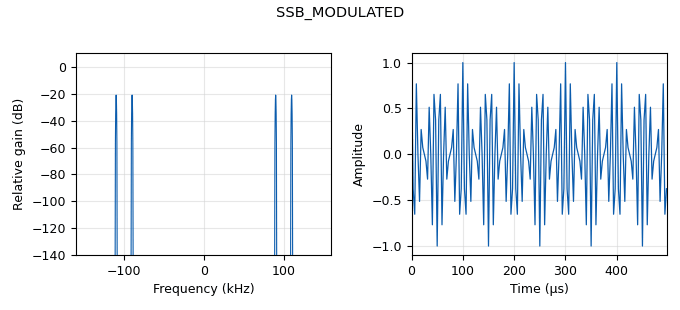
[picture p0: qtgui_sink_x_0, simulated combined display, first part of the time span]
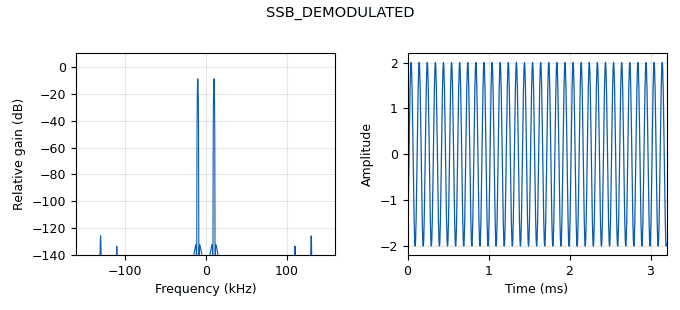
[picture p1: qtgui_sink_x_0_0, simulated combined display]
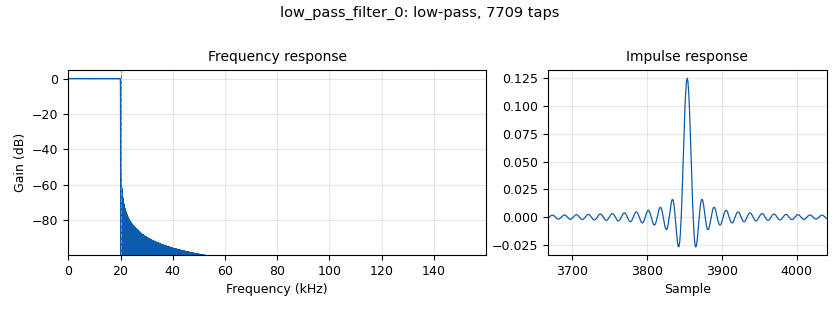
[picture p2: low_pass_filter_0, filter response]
options:
  parameters:
    generate_options: qt_gui
    id: Lab2_4
    output_language: python
    title: Not titled yet
  states: {}

blocks:
- name: gain
  id: variable_qtgui_range
  parameters:
    start: '-1'
    step: '1'
    stop: '1'
    value: '0'
  states: {}
- name: samp_rate
  id: variable
  parameters:
    value: '320000'
  states: {}
- name: analog_sig_source_x_0
  id: analog_sig_source_x
  parameters:
    amp: '1'
    freq: '10000'
    offset: '0'
    phase: '0'
    samp_rate: samp_rate
    type: float
    waveform: analog.GR_COS_WAVE
  states: {}
- name: analog_sig_source_x_0_0
  id: analog_sig_source_x
  parameters:
    amp: gain
    freq: '10000'
    offset: '0'
    phase: '0'
    samp_rate: samp_rate
    type: float
    waveform: analog.GR_SIN_WAVE
  states: {}
- name: analog_sig_source_x_0_1
  id: analog_sig_source_x
  parameters:
    amp: '1'
    freq: 2e5
    offset: '0'
    phase: '0'
    samp_rate: 640e3
    type: complex
    waveform: analog.GR_COS_WAVE
  states: {}
- name: analog_sig_source_x_0_1_0
  id: analog_sig_source_x
  parameters:
    amp: '1'
    freq: 2e5
    offset: '0'
    phase: '0'
    samp_rate: 640e3
    type: float
    waveform: analog.GR_COS_WAVE
  states: {}
- name: blocks_add_xx_0
  id: blocks_add_xx
  parameters:
    type: float
  states: {}
- name: blocks_complex_to_float_0
  id: blocks_complex_to_float
  parameters: {}
  states: {}
- name: blocks_multiply_const_vxx_0
  id: blocks_multiply_const_vxx
  parameters:
    const: '4'
    type: float
  states: {}
- name: blocks_multiply_xx_0
  id: blocks_multiply_xx
  parameters:
    type: float
  states: {}
- name: blocks_multiply_xx_0_0
  id: blocks_multiply_xx
  parameters:
    type: float
  states: {}
- name: blocks_multiply_xx_0_0_0
  id: blocks_multiply_xx
  parameters:
    type: float
  states: {}
- name: low_pass_filter_0
  id: low_pass_filter
  parameters:
    cutoff_freq: 20e3
    decim: '1'
    gain: '1'
    samp_rate: samp_rate
    type: fir_filter_fff
    width: '100'
    win: window.WIN_HAMMING
  states: {}
- name: qtgui_sink_x_0
  id: qtgui_sink_x
  parameters:
    bw: samp_rate
    fc: '0'
    fftsize: '1024'
    name: '"SSB_MODULATED"'
    type: float
  states: {}
- name: qtgui_sink_x_0_0
  id: qtgui_sink_x
  parameters:
    bw: samp_rate
    fc: '0'
    fftsize: '1024'
    name: '"SSB_DEMODULATED"'
    type: float
  states: {}
- name: virtual_sink_0
  id: virtual_sink
  parameters:
    stream_id: ssb_out
  states: {}
- name: virtual_source_0
  id: virtual_source
  parameters:
    stream_id: ssb_out
  states: {}

connections:
- [analog_sig_source_x_0, '0', blocks_multiply_xx_0, '0']
- [analog_sig_source_x_0_0, '0', blocks_multiply_xx_0_0, '1']
- [analog_sig_source_x_0_1, '0', blocks_complex_to_float_0, '0']
- [analog_sig_source_x_0_1_0, '0', blocks_multiply_xx_0_0_0, '1']
- [blocks_add_xx_0, '0', qtgui_sink_x_0, '0']
- [blocks_add_xx_0, '0', virtual_sink_0, '0']
- [blocks_complex_to_float_0, '0', blocks_multiply_xx_0, '1']
- [blocks_complex_to_float_0, '1', blocks_multiply_xx_0_0, '0']
- [blocks_multiply_const_vxx_0, '0', qtgui_sink_x_0_0, '0']
- [blocks_multiply_xx_0, '0', blocks_add_xx_0, '0']
- [blocks_multiply_xx_0_0, '0', blocks_add_xx_0, '1']
- [blocks_multiply_xx_0_0_0, '0', low_pass_filter_0, '0']
- [low_pass_filter_0, '0', blocks_multiply_const_vxx_0, '0']
- [virtual_source_0, '0', blocks_multiply_xx_0_0_0, '0']

metadata:
  file_format: 1
  grc_version: 3.10.7.0
